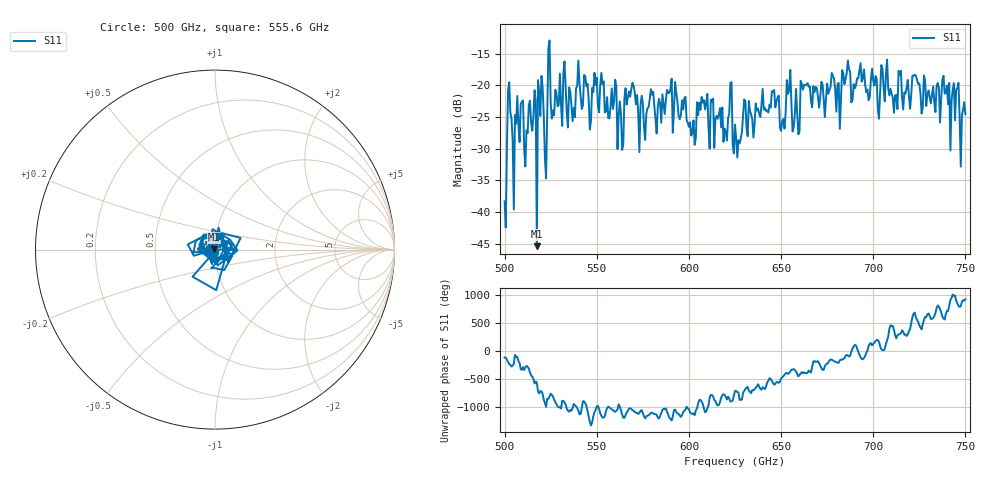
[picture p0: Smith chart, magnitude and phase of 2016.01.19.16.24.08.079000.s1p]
!Created with skrf (http://scikit-rf.org).
# GHz S RI R 50.0
!freq ReS11 ImS11
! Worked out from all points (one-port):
!   401 points, 500 GHz to 750 GHz, reference 50 ohm
!   lowest |S11| = -45.4 dB at 517.5 GHz (marker M1), VSWR 1.01, Z = 49.5 + j0.181 ohm
!   |S11| at or under -10 dB: start of sweep to end of sweep
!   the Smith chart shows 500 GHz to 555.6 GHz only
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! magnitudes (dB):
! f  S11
! 500 GHz  -38.3
! 502.5 GHz  -19.5
! 505 GHz  -39.6
! 508.1 GHz  -29.0
! 517.5 GHz  -45.4
! 518.8 GHz  -21.0
! 519.4 GHz  -24.8
! 521.9 GHz  -31.6
! 524.4 GHz  -12.9
! 526.2 GHz  -24.0
! 531.2 GHz  -26.4
! 559.4 GHz  -22.5
! 562.5 GHz  -22.5
! 568.8 GHz  -20.6
! 576.9 GHz  -24.6
! 593.8 GHz  -22.6
! 602.5 GHz  -25.5
! 606.9 GHz  -21.8
! 620 GHz  -27.4
! 622.5 GHz  -19.6
! 625 GHz  -26.2
! 645 GHz  -20.9
! 650.6 GHz  -25.6
! 653.8 GHz  -21.3
! 656.2 GHz  -27.3
! 687.5 GHz  -17.9
! 718.8 GHz  -19.2
! 750 GHz  -24.6
